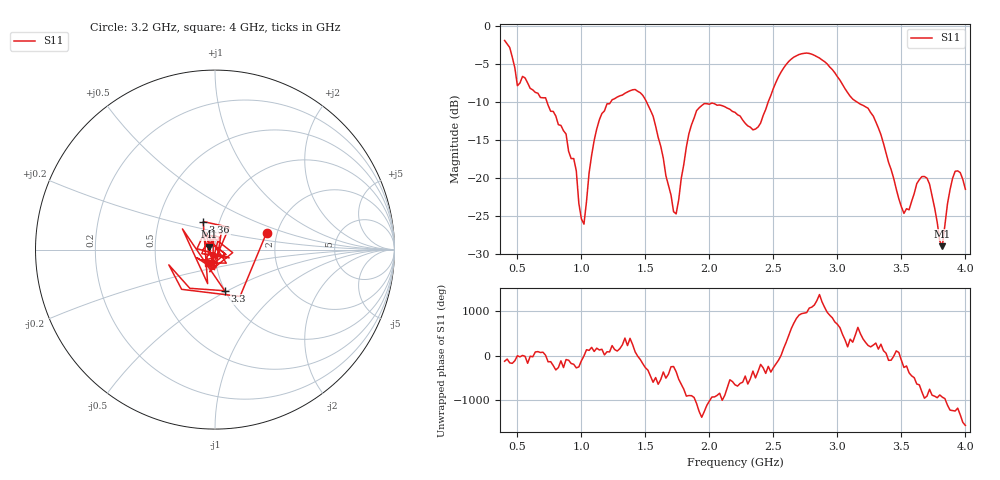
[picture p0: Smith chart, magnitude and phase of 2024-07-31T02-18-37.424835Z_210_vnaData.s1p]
!Created with skrf (http://scikit-rf.org).
# Hz S RI R 50.0
!freq ReS11 ImS11
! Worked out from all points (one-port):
!   181 points, 400 MHz to 4 GHz, reference 50 ohm
!   lowest |S11| = -28.9 dB at 3.82 GHz (marker M1), VSWR 1.07, Z = 46.9 + j1.49 ohm
!   |S11| at or under -10 dB: 732.3 MHz to 1.227 GHz (494.7 MHz wide, 50.5 % of centre); 1.51 GHz to 2.458 GHz (947.8 MHz wide, 47.8 % of centre); 3.157 GHz to end of sweep
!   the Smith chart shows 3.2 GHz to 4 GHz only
!   S11 on the Smith chart (normalised r, x): 3.2 GHz: 1.76, +0.36; 3.3 GHz: 1.00, -0.48; 3.36 GHz: 0.84, +0.27; 4 GHz: 0.91, -0.14
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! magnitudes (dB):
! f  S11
! 400 MHz  -1.8
! 500 MHz  -7.8
! 720 MHz  -9.4
! 860 MHz  -13.7
! 940 MHz  -17.4
! 1.02 GHz  -26.0
! 1.12 GHz  -13.5
! 1.3 GHz  -9.1
! 1.5 GHz  -9.6
! 1.62 GHz  -15.8
! 1.72 GHz  -24.4
! 1.76 GHz  -22.9
! 1.84 GHz  -14.1
! 1.9 GHz  -11.1
! 2.2 GHz  -11.3
! 2.38 GHz  -13.2
! 2.66 GHz  -4.0
! 2.86 GHz  -4.2
! 3.1 GHz  -9.2
! 3.2 GHz  -10.4
! 3.3 GHz  -12.6
! 3.36 GHz  -15.4
! 3.5 GHz  -23.8
! 3.56 GHz  -24.1
! 3.7 GHz  -20.0
! 3.82 GHz  -28.9
! 3.92 GHz  -19.1
! 4 GHz  -21.4
